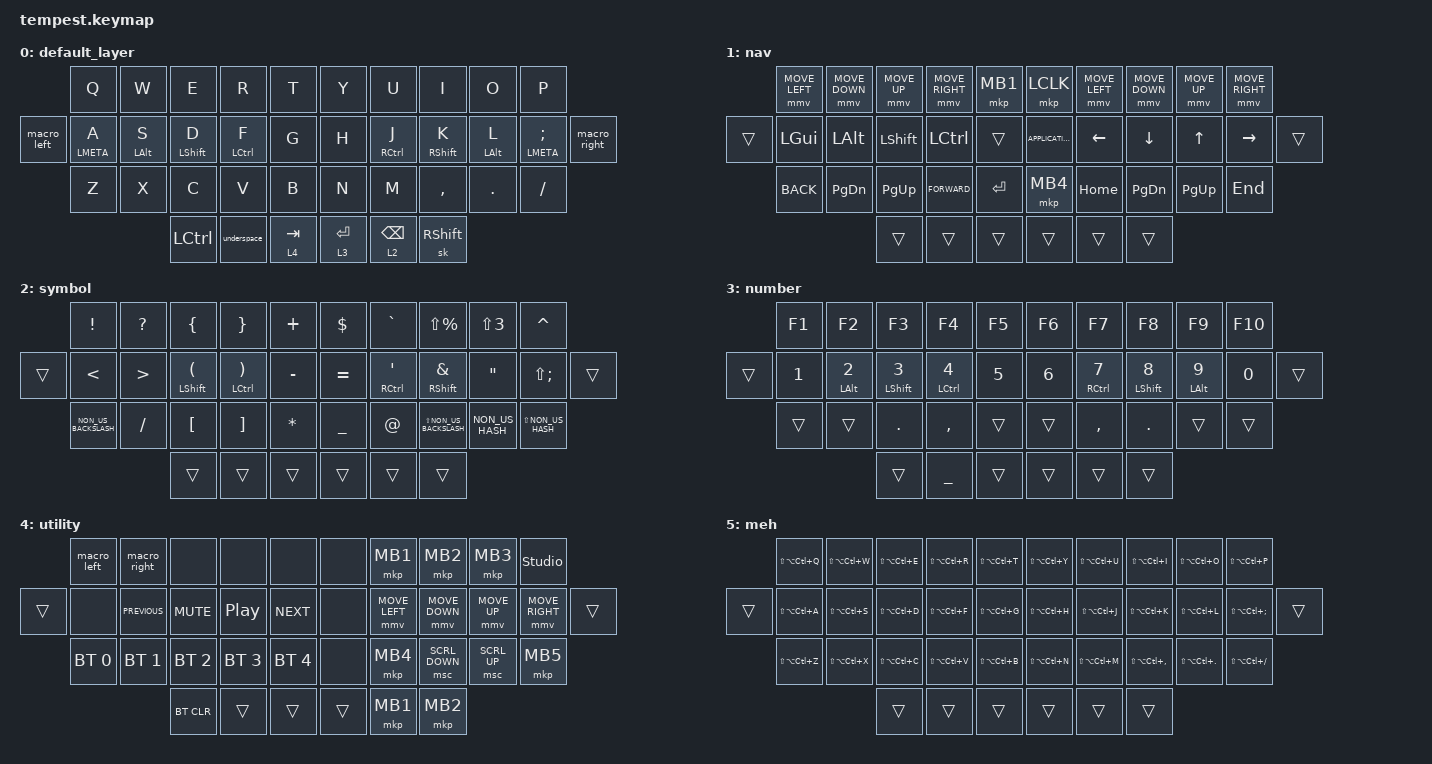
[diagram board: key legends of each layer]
/*
 * Copyright (c) 2020 The ZMK Contributors
 *
 * SPDX-License-Identifier: MIT
 */

#define ZMK_POINTING_DEFAULT_MOVE_VAL 1000  // default: 600
#define ZMK_POINTING_DEFAULT_SCRL_VAL 20    // default: 10

#include <behaviors.dtsi>
#include <dt-bindings/zmk/bt.h>
#include <dt-bindings/zmk/keys.h>
#include <dt-bindings/zmk/pointing.h>

&sk {
    release-after-ms = <1000>;
    quick-release;
    lazy;
    ignore-modifiers;
};

&mmv {
    acceleration-exponent = <1>;          // 1
    time-to-max-speed-ms = <500>;         // 300
    delay-ms = <0>;                       // 0
};

&lt {
    tapping-term-ms = <200>; // default 200
    flavor = "balanced"; // or hold-preferred or tap-preferred
    quick-tap-ms = <150>;
};

/*       0   1   2   3   4      ||    5   6   7   8   9 */                1
/* {10}  11  12  13  14  15     ||    16  17  18  19  20  {21} */
/*       22  23  24  25  26     ||    27  28  29  30  31 */
/*                   32 33 34   ||  35 36 37 */


/ {
    combos {
        compatible = "zmk,combos";

        combo_caps_word {
            bindings = <&caps_word>;
            key-positions = <15 16>;
            layers = <0>;
        };

        combo_esc {
            bindings = <&kp ESCAPE>;
            key-positions = <1 0>;
            layers = <0>;
        };

        combo_vol_up {
            bindings = <&kp C_VOLUME_UP>;
            key-positions = <9 20>;
            layers = <0>;
        };

        combo_vol_down {
            bindings = <&kp C_VOLUME_DOWN>;
            key-positions = <20 31>;
            layers = <0>;
        };

        combo_CAPS_LOCK {
            bindings = <&kp CAPSLOCK>;
            key-positions = <4 5>;
            layers = <0>;
        };

        combo_Delete {
            bindings = <&kp DELETE>;
            key-positions = <9 8>;
            layers = <0>;
        };

        combo_underscore {
            bindings = <&kp UNDER>;
            key-positions = <24 25>;
            layers = <0>;
        };

        combo_dash {
            bindings = <&kp MINUS>;
            key-positions = <3 2>;
            layers = <0>;
        };

        combo_em-dash {
            bindings = <&emdsh>;
            key-positions = <2 3 1>;
            layers = <0>;
        };

        combo_F19 {
            bindings = <&kp F19>;
            key-positions = <4 0 5 9>;
            layers = <0>;
        };

        combo_single-quote {
            bindings = <&kp SINGLE_QUOTE>;
            key-positions = <6 7>;
            layers = <0>;
        };

        combo_double-quote {
            bindings = <&kp AT_SIGN>;
            key-positions = <7 8>;
            layers = <0>;
        };

        combo_equal {
            bindings = <&kp EQUAL>;
            key-positions = <28 29>;
            layers = <0>;
        };

        combo_hash {
            bindings = <&kp NON_US_HASH>;
            key-positions = <29 30>;
            layers = <0>;
        };

        combo_esc_home {
            bindings = <&kp ESCAPE>;
            key-positions = <11 12>;
            layers = <0>;
        };

        combo_tab {
            bindings = <&kp TAB>;
            key-positions = <22 23>;
            layers = <0>;
        };

        combo_colon {
            bindings = <&kp COLON>;
            key-positions = <1 2>;
            layers = <0>;
        };
       
        /* combos on base layer, left side, for boot shortcuts like BIOS with half the keyboard plugged in */

        combo_boot_F11 {
            bindings = <&kp F11>;
            key-positions = <32 33 34 0>;
            layers = <0>;
        };

        combo_boot_del {
            bindings = <&kp DEL>;
            key-positions = <32 33 34 4>;
            layers = <0>;
        };

        combo_boot_F2 {
            bindings = <&kp F2>;
            key-positions = <32 33 34 1>;
            layers = <0>;
        };

        combo_boot_F8 {
            bindings = <&kp F8>;
            key-positions = <32 33 34 2>;
            layers = <0>;
        };

        combo_boot_F10 {
            bindings = <&kp F10>;
            key-positions = <32 33 34 3>;
            layers = <0>;
        };

        combo_boot_up {
            bindings = <&kp UP_ARROW>;
            key-positions = <32 33 34 14>;
            layers = <0>;
        };

        combo_boot_down {
            bindings = <&kp DOWN>;
            key-positions = <32 33 34 13>;
            layers = <0>;
        };

        combo_boot_ent {
            bindings = <&kp ENTER>;
            key-positions = <32 33 34 15>;
            layers = <0>;
        };
    };

    macros {
        arrow_func: arrow_func {
            compatible = "zmk,behavior-macro";
            #binding-cells = <0>;
            bindings = <&kp EQUAL &kp GT>, <&macro_press>;

            label = "ARROW_FUNC";
        };

        emdsh: emdsh {
            compatible = "zmk,behavior-macro";
            #binding-cells = <0>;
            bindings =
                <&kp SPACE &kp MINUS &kp MINUS &kp SPACE>,
                <&macro_press>;

            label = "EMDSH";
        };
    };

    behaviors {
        bhm: balanced_homerow_mods {
            compatible = "zmk,behavior-hold-tap";
            #binding-cells = <2>;
            tapping-term-ms = <200>;    // <---[[moderate duration]]
            quick-tap-ms = <0>;
            flavor = "balanced";
            bindings = <&kp>, <&kp>;
        };

        arrow_func_tap: arrow_func_tap {
            compatible = "zmk,behavior-tap-dance";
            label = "ARROW_FUNC_TAP";
            #binding-cells = <0>;
            bindings = <&kp GREATER_THAN>, <&arrow_func>;
        };

        underspace: underspace {
            compatible = "zmk,behavior-mod-morph";
            label = "UNDERSPACE";
            bindings = <&lt 1 SPACE>, <&kp UNDER>;

            #binding-cells = <0>;
            mods = <(MOD_RSFT)>;
        };

        macro_left: macro_left {
            compatible = "zmk,behavior-tap-dance";
            label = "MACRO_LEFT";
            #binding-cells = <0>;
            bindings = <&kp F20>, <&kp F22>;
        };

        macro_right: macro_right {
            compatible = "zmk,behavior-tap-dance";
            label = "MACRO_RIGHT";
            #binding-cells = <0>;
            bindings = <&kp F21>, <&kp F23>;
        };
    };

    keymap {
        compatible = "zmk,keymap";

        default_layer {
            // -----------------------------------------------------------------------------------------
            //          ||  Q  |  W  |  E  |  R  |  T  ||                   ||  Y  |  U   |  I  |  O  |  P  || 
            //  [extra] ||  A  |  S  |  D  |  F  |  G  ||                   ||  H  |  J   |  K  |  L  |  ;  ||  [extra] 
            //          ||  Z  |  X  |  C  |  V  |  B  ||                   ||  N  |  M   |  ,  |  .  |  /  || 
            //                               | CTL | SPC | TAB ||   || ENT | BKS | SFT  |

            bindings = <
             &kp Q         &kp W            &kp E              &kp R         &kp T      &kp Y      &kp U            &kp I               &kp O            &kp P
&macro_left  &bhm LMETA A  &bhm LEFT_ALT S  &bhm LEFT_SHIFT D  &bhm LCTRL F  &kp G      &kp H      &bhm RCTRL J     &bhm RIGHT_SHIFT K  &bhm LEFT_ALT L  &bhm LMETA SEMICOLON  &macro_right
             &kp Z         &kp X            &kp C              &kp V         &kp B      &kp N      &kp M            &kp COMMA           &kp DOT          &kp FSLH
                                            &kp LCTRL          &underspace   &lt 4 TAB  &lt 3 RET  &lt 2 BACKSPACE  &sk RIGHT_SHIFT
            >;
        };

        nav {
            bindings = <
        &mmv MOVE_LEFT  &mmv MOVE_DOWN  &mmv MOVE_UP    &mmv MOVE_RIGHT   &mkp MB1   &mkp LCLK          &mmv MOVE_LEFT  &mmv MOVE_DOWN  &mmv MOVE_UP  &mmv MOVE_RIGHT
&trans  &kp LGUI        &kp LALT        &kp LEFT_SHIFT  &kp LEFT_CONTROL  &trans     &kp K_APPLICATION  &kp LEFT        &kp DOWN_ARROW  &kp UP_ARROW  &kp RIGHT        &trans
        &kp K_BACK      &kp PAGE_DOWN   &kp PAGE_UP     &kp K_FORWARD     &kp ENTER  &mkp MB4           &kp HOME        &kp PAGE_DOWN   &kp PG_UP     &kp END
                                        &trans          &trans            &trans     &trans             &trans          &trans
            >;
        };

        symbol {
            bindings = <
        &kp EXCLAMATION       &kp QUESTION     &kp LEFT_BRACE                    &kp RIGHT_BRACE               &kp PLUS      &kp DOLLAR      &kp GRAVE                &kp LS(PERCENT)             &kp LS(NUMBER_3)   &kp CARET
&trans  &kp LESS_THAN         &kp GREATER_THAN &bhm LEFT_SHIFT LEFT_PARENTHESIS  &bhm LCTRL RIGHT_PARENTHESIS  &kp MINUS     &kp EQUAL       &bhm RCTRL SINGLE_QUOTE  &bhm RIGHT_SHIFT AMPERSAND  &kp DOUBLE_QUOTES  &kp LS(SEMICOLON)    &trans
        &kp NON_US_BACKSLASH  &kp SLASH        &kp LEFT_BRACKET                  &kp RIGHT_BRACKET             &kp ASTERISK  &kp UNDERSCORE  &kp AT_SIGN              &kp LS(NON_US_BACKSLASH)    &kp NON_US_HASH    &kp LS(NON_US_HASH)
                                               &trans                            &trans                        &trans        &trans          &trans                   &trans
            >;
        };

        number {
            bindings = <
        &kp F1  &kp F2                  &kp F3                    &kp F4               &kp F5  &kp F6  &kp F7               &kp F8                    &kp F9                  &kp F10
&trans  &kp N1  &bhm LEFT_ALT NUMBER_2  &bhm LEFT_SHIFT NUMBER_3  &bhm LCTRL NUMBER_4  &kp N5  &kp N6  &bhm RCTRL NUMBER_7  &bhm LEFT_SHIFT NUMBER_8  &bhm LEFT_ALT NUMBER_9  &kp N0   &trans
        &trans  &trans                  &kp DOT                   &kp COMMA            &trans  &trans  &kp COMMA            &kp DOT                   &trans                  &trans
                                        &trans                    &kp UNDER            &trans  &trans  &trans               &trans
            >;
        };

        utility {
            bindings = <
        &macro_left   &macro_right    &none         &none             &none         &none   &mkp MB1        &mkp MB2        &mkp MB3      &studio_unlock
&trans  &none         &kp C_PREVIOUS  &kp C_MUTE    &kp C_PLAY_PAUSE  &kp C_NEXT    &none   &mmv MOVE_LEFT  &mmv MOVE_DOWN  &mmv MOVE_UP  &mmv MOVE_RIGHT  &trans
        &bt BT_SEL 0  &bt BT_SEL 1    &bt BT_SEL 2  &bt BT_SEL 3      &bt BT_SEL 4  &none   &mkp MB4        &msc SCRL_DOWN  &msc SCRL_UP  &mkp MB5
                                      &bt BT_CLR    &trans            &trans        &trans  &mkp MB1        &mkp MB2
            >;
        };

        meh {
            bindings = <
        &kp LS(LA(LC(Q)))  &kp LS(LA(LC(W)))  &kp LS(LA(LC(E)))  &kp LS(LA(LC(R)))  &kp LS(LA(LC(T)))  &kp LS(LA(LC(Y)))  &kp LS(LA(LC(U)))  &kp LS(LA(LC(I)))      &kp LS(LA(LC(O)))    &kp LS(LA(LC(P)))
&trans  &kp LS(LA(LC(A)))  &kp LS(LA(LC(S)))  &kp LS(LA(LC(D)))  &kp LS(LA(LC(F)))  &kp LS(LA(LC(G)))  &kp LS(LA(LC(H)))  &kp LS(LA(LC(J)))  &kp LS(LA(LC(K)))      &kp LS(LA(LC(L)))    &kp LS(LA(LC(SEMI)))  &trans
        &kp LS(LA(LC(Z)))  &kp LS(LA(LC(X)))  &kp LS(LA(LC(C)))  &kp LS(LA(LC(V)))  &kp LS(LA(LC(B)))  &kp LS(LA(LC(N)))  &kp LS(LA(LC(M)))  &kp LS(LA(LC(COMMA)))  &kp LS(LA(LC(DOT)))  &kp LS(LA(LC(FSLH)))
                                              &trans             &trans             &trans             &trans             &trans             &trans
            >;
        };
    };

    conditional_layers {
        compatible = "zmk,conditional-layers";

        tiling {
            if-layers = <3 4>;
            then-layer = <5>;
        };
    };
};
